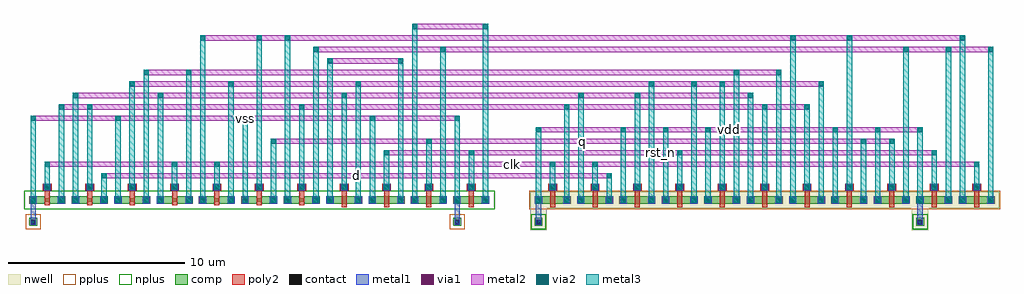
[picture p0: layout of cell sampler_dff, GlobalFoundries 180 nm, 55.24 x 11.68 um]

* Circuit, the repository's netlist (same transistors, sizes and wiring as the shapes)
* extracted by klt extract --deck gf180mcu

* cell sampler_dff
* pin clk
* pin d
* pin q
* pin rst_n
* pin vdd
* pin vss
.SUBCKT sampler_dff clk d q rst_n vdd vss
* device instance $1 r0 *1 0.8,1 nfet
X$1 \$3 clk vss vss nfet_03v3 L=0.28U W=0.22U AS=0.3872P AD=0.3872P PS=2.64U
+ PD=2.64U
* device instance $2 r0 *1 3.2,1 nfet
X$2 d \$3 \$4 vss nfet_03v3 L=0.28U W=0.22U AS=0.3872P AD=0.3872P PS=2.64U
+ PD=2.64U
* device instance $3 r0 *1 5.6,1 nfet
X$3 \$6 \$13 vss vss nfet_03v3 L=0.28U W=0.22U AS=0.3872P AD=0.3872P PS=2.64U
+ PD=2.64U
* device instance $4 r0 *1 8,1 nfet
X$4 \$6 clk \$4 vss nfet_03v3 L=0.28U W=0.22U AS=0.3872P AD=0.3872P PS=2.64U
+ PD=2.64U
* device instance $5 r0 *1 10.4,1 nfet
X$5 \$13 clk \$7 vss nfet_03v3 L=0.28U W=0.22U AS=0.3872P AD=0.3872P PS=2.64U
+ PD=2.64U
* device instance $6 r0 *1 12.8,1 nfet
X$6 q \$7 vss vss nfet_03v3 L=0.28U W=0.22U AS=0.3872P AD=0.3872P PS=2.64U
+ PD=2.64U
* device instance $7 r0 *1 15.2,1 nfet
X$7 \$9 \$3 \$7 vss nfet_03v3 L=0.28U W=0.22U AS=0.3872P AD=0.3872P PS=2.64U
+ PD=2.64U
* device instance $8 r0 *1 17.6,1 nfet
X$8 \$13 \$4 \$10 vss nfet_03v3 L=0.28U W=0.44U AS=0.3872P AD=0.3872P PS=2.64U
+ PD=2.64U
* device instance $9 r0 *1 20,1 nfet
X$9 \$10 rst_n vss vss nfet_03v3 L=0.28U W=0.44U AS=0.3872P AD=0.3872P PS=2.64U
+ PD=2.64U
* device instance $10 r0 *1 22.4,1 nfet
X$10 \$9 q \$11 vss nfet_03v3 L=0.28U W=0.44U AS=0.3872P AD=0.3872P PS=2.64U
+ PD=2.64U
* device instance $11 r0 *1 24.8,1 nfet
X$11 \$11 rst_n vss vss nfet_03v3 L=0.28U W=0.44U AS=0.3872P AD=0.3872P
+ PS=2.64U PD=2.64U
* device instance $12 r0 *1 29.4,1 pfet
X$12 \$3 clk vdd vdd pfet_03v3 L=0.28U W=0.44U AS=0.3872P AD=0.3872P PS=2.64U
+ PD=2.64U
* device instance $13 r0 *1 31.8,1 pfet
X$13 d clk \$4 vdd pfet_03v3 L=0.28U W=0.44U AS=0.3872P AD=0.3872P PS=2.64U
+ PD=2.64U
* device instance $14 r0 *1 34.2,1 pfet
X$14 \$13 \$4 vdd vdd pfet_03v3 L=0.28U W=0.44U AS=0.3872P AD=0.3872P PS=2.64U
+ PD=2.64U
* device instance $15 r0 *1 36.6,1 pfet
X$15 \$13 rst_n vdd vdd pfet_03v3 L=0.28U W=0.44U AS=0.3872P AD=0.3872P
+ PS=2.64U PD=2.64U
* device instance $16 r0 *1 39,1 pfet
X$16 \$6 \$13 vdd vdd pfet_03v3 L=0.28U W=0.44U AS=0.3872P AD=0.3872P PS=2.64U
+ PD=2.64U
* device instance $17 r0 *1 41.4,1 pfet
X$17 \$6 \$3 \$4 vdd pfet_03v3 L=0.28U W=0.44U AS=0.3872P AD=0.3872P PS=2.64U
+ PD=2.64U
* device instance $18 r0 *1 43.8,1 pfet
X$18 \$13 \$3 \$7 vdd pfet_03v3 L=0.28U W=0.44U AS=0.3872P AD=0.3872P PS=2.64U
+ PD=2.64U
* device instance $19 r0 *1 46.2,1 pfet
X$19 q \$7 vdd vdd pfet_03v3 L=0.28U W=0.44U AS=0.3872P AD=0.3872P PS=2.64U
+ PD=2.64U
* device instance $20 r0 *1 48.6,1 pfet
X$20 \$9 q vdd vdd pfet_03v3 L=0.28U W=0.44U AS=0.3872P AD=0.3872P PS=2.64U
+ PD=2.64U
* device instance $21 r0 *1 51,1 pfet
X$21 \$9 rst_n vdd vdd pfet_03v3 L=0.28U W=0.44U AS=0.3872P AD=0.3872P PS=2.64U
+ PD=2.64U
* device instance $22 r0 *1 53.4,1 pfet
X$22 \$9 clk \$7 vdd pfet_03v3 L=0.28U W=0.44U AS=0.3872P AD=0.3872P PS=2.64U
+ PD=2.64U
.ENDS sampler_dff

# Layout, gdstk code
import gdstk
lib = gdstk.Library(unit=1e-6, precision=1e-09)
def R(c, l, rs):  # rectangles x0, y0, x1, y1
    for r in rs: c.add(gdstk.rectangle(r[:2], r[2:], *l))
def A(c, l, x, y, w, h, nx, ny, dx, dy):  # array of equal rectangles
    R(c, l, [(x+i*dx, y+j*dy, x+i*dx+w, y+j*dy+h) for i in range(nx) for j in range(ny)])
nwell = (21, 0)
comp = (22, 0)
poly2 = (30, 0)
pplus = (31, 0)
nplus = (32, 0)
contact = (33, 0)
metal1 = (34, 0)
via1 = (35, 0)
metal2 = (36, 0)
via2 = (38, 0)
metal3 = (42, 0)

sampler_dff = lib.new_cell('sampler_dff')
R(sampler_dff, nwell, [(28.13,-0.71,29.07,0.63), (49.73,-0.71,50.67,0.63), (28.13,0.53,54.67,1.47)])
A(sampler_dff, comp, 16.58, 0.78, 2.04, 0.44, 4, 1, 2.4, 0)
A(sampler_dff, comp, 28.38, 0.78, 2.04, 0.44, 11, 1, 2.4, 0)
A(sampler_dff, comp, 0.66, 0.89, 0.28, 0.22, 7, 1, 2.4, 0)
R(sampler_dff, comp, [(-0.22,-0.46,0.22,-0.02), (23.78,-0.46,24.22,-0.02), (28.38,-0.46,28.82,-0.02), (49.98,-0.46,50.42,-0.02), (-0.22,0.78,0.66,1.22), (0.94,0.78,1.82,1.22), (2.18,0.78,3.06,1.22), (3.34,0.78,4.22,1.22), (4.58,0.78,5.46,1.22), (5.74,0.78,6.62,1.22), (6.98,0.78,7.86,1.22), (8.14,0.78,9.02,1.22), (9.38,0.78,10.26,1.22), (10.54,0.78,11.42,1.22), (11.78,0.78,12.66,1.22), (12.94,0.78,13.82,1.22), (14.18,0.78,15.06,1.22), (15.34,0.78,16.22,1.22)])
A(sampler_dff, poly2, 17.46, 0.58, 0.28, 0.99, 4, 1, 2.4, 0)
A(sampler_dff, poly2, 29.26, 0.58, 0.28, 0.99, 11, 1, 2.4, 0)
A(sampler_dff, poly2, 0.66, 0.69, 0.28, 0.88, 7, 1, 2.4, 0)
A(sampler_dff, poly2, 0.55, 1.52, 0.5, 0.4, 11, 1, 2.4, 0)
A(sampler_dff, poly2, 29.15, 1.52, 0.5, 0.4, 11, 1, 2.4, 0)
A(sampler_dff, pplus, 28.08, 0.48, 2.64, 1.04, 11, 1, 2.4, 0)
R(sampler_dff, pplus, [(-0.42,-0.66,0.42,0.18), (23.58,-0.66,24.42,0.18)])
A(sampler_dff, nplus, 16.28, 0.48, 2.64, 1.04, 4, 1, 2.4, 0)
A(sampler_dff, nplus, 0.36, 0.59, 0.88, 0.82, 7, 1, 2.4, 0)
R(sampler_dff, nplus, [(28.18,-0.66,29.02,0.18), (49.78,-0.66,50.62,0.18), (-0.52,0.48,0.96,1.52), (0.64,0.48,2.12,1.52), (1.88,0.48,3.36,1.52), (3.04,0.48,4.52,1.52), (4.28,0.48,5.76,1.52), (5.44,0.48,6.92,1.52), (6.68,0.48,8.16,1.52), (7.84,0.48,9.32,1.52), (9.08,0.48,10.56,1.52), (10.24,0.48,11.72,1.52), (11.48,0.48,12.96,1.52), (12.64,0.48,14.12,1.52), (13.88,0.48,15.36,1.52), (15.04,0.48,16.52,1.52)])
A(sampler_dff, contact, 0.69, 1.61, 0.22, 0.22, 11, 1, 2.4, 0)
A(sampler_dff, contact, 29.29, 1.61, 0.22, 0.22, 11, 1, 2.4, 0)
R(sampler_dff, contact, [(-0.11,-0.35,0.11,-0.13), (23.89,-0.35,24.11,-0.13), (28.49,-0.35,28.71,-0.13), (50.09,-0.35,50.31,-0.13), (-0.11,0.89,0.11,1.11), (1.49,0.89,1.71,1.11), (2.29,0.89,2.51,1.11), (3.89,0.89,4.11,1.11), (4.69,0.89,4.91,1.11), (6.29,0.89,6.51,1.11), (7.09,0.89,7.31,1.11), (8.69,0.89,8.91,1.11), (9.49,0.89,9.71,1.11), (11.09,0.89,11.31,1.11), (11.89,0.89,12.11,1.11), (13.49,0.89,13.71,1.11), (14.29,0.89,14.51,1.11), (15.89,0.89,16.11,1.11), (16.69,0.89,16.91,1.11), (18.29,0.89,18.51,1.11), (19.09,0.89,19.31,1.11), (20.69,0.89,20.91,1.11), (21.49,0.89,21.71,1.11), (23.09,0.89,23.31,1.11), (23.89,0.89,24.11,1.11), (25.49,0.89,25.71,1.11), (28.49,0.89,28.71,1.11), (30.09,0.89,30.31,1.11), (30.89,0.89,31.11,1.11), (32.49,0.89,32.71,1.11), (33.29,0.89,33.51,1.11), (34.89,0.89,35.11,1.11), (35.69,0.89,35.91,1.11), (37.29,0.89,37.51,1.11), (38.09,0.89,38.31,1.11), (39.69,0.89,39.91,1.11), (40.49,0.89,40.71,1.11), (42.09,0.89,42.31,1.11), (42.89,0.89,43.11,1.11), (44.49,0.89,44.71,1.11), (45.29,0.89,45.51,1.11), (46.89,0.89,47.11,1.11), (47.69,0.89,47.91,1.11), (49.29,0.89,49.51,1.11), (50.09,0.89,50.31,1.11), (51.69,0.89,51.91,1.11), (52.49,0.89,52.71,1.11), (54.09,0.89,54.31,1.11)])
A(sampler_dff, metal1, 0.6, 1.52, 0.4, 0.4, 11, 1, 2.4, 0)
A(sampler_dff, metal1, 29.2, 1.52, 0.4, 0.4, 11, 1, 2.4, 0)
R(sampler_dff, metal1, [(-0.15,-0.39,0.15,1), (23.85,-0.39,24.15,1), (28.45,-0.39,28.75,1), (50.05,-0.39,50.35,1), (-0.2,0.8,0.2,1.2), (1.4,0.8,1.8,1.2), (2.2,0.8,2.6,1.2), (3.8,0.8,4.2,1.2), (4.6,0.8,5,1.2), (6.2,0.8,6.6,1.2), (7,0.8,7.4,1.2), (8.6,0.8,9,1.2), (9.4,0.8,9.8,1.2), (11,0.8,11.4,1.2), (11.8,0.8,12.2,1.2), (13.4,0.8,13.8,1.2), (14.2,0.8,14.6,1.2), (15.8,0.8,16.2,1.2), (16.6,0.8,17,1.2), (18.2,0.8,18.6,1.2), (19,0.8,19.4,1.2), (20.6,0.8,21,1.2), (21.4,0.8,21.8,1.2), (23,0.8,23.4,1.2), (23.8,0.8,24.2,1.2), (25.4,0.8,25.8,1.2), (28.4,0.8,28.8,1.2), (30,0.8,30.4,1.2), (30.8,0.8,31.2,1.2), (32.4,0.8,32.8,1.2), (33.2,0.8,33.6,1.2), (34.8,0.8,35.2,1.2), (35.6,0.8,36,1.2), (37.2,0.8,37.6,1.2), (38,0.8,38.4,1.2), (39.6,0.8,40,1.2), (40.4,0.8,40.8,1.2), (42,0.8,42.4,1.2), (42.8,0.8,43.2,1.2), (44.4,0.8,44.8,1.2), (45.2,0.8,45.6,1.2), (46.8,0.8,47.2,1.2), (47.6,0.8,48,1.2), (49.2,0.8,49.6,1.2), (50,0.8,50.4,1.2), (51.6,0.8,52,1.2), (52.4,0.8,52.8,1.2), (54,0.8,54.4,1.2)])
A(sampler_dff, via1, 0.67, 1.59, 0.26, 0.26, 11, 1, 2.4, 0)
A(sampler_dff, via1, 29.27, 1.59, 0.26, 0.26, 11, 1, 2.4, 0)
R(sampler_dff, via1, [(-0.13,0.87,0.13,1.13), (1.47,0.87,1.73,1.13), (2.27,0.87,2.53,1.13), (3.87,0.87,4.13,1.13), (4.67,0.87,4.93,1.13), (6.27,0.87,6.53,1.13), (7.07,0.87,7.33,1.13), (8.67,0.87,8.93,1.13), (9.47,0.87,9.73,1.13), (11.07,0.87,11.33,1.13), (11.87,0.87,12.13,1.13), (13.47,0.87,13.73,1.13), (14.27,0.87,14.53,1.13), (15.87,0.87,16.13,1.13), (16.67,0.87,16.93,1.13), (18.27,0.87,18.53,1.13), (19.07,0.87,19.33,1.13), (20.67,0.87,20.93,1.13), (21.47,0.87,21.73,1.13), (23.07,0.87,23.33,1.13), (23.87,0.87,24.13,1.13), (25.47,0.87,25.73,1.13), (28.47,0.87,28.73,1.13), (30.07,0.87,30.33,1.13), (30.87,0.87,31.13,1.13), (32.47,0.87,32.73,1.13), (33.27,0.87,33.53,1.13), (34.87,0.87,35.13,1.13), (35.67,0.87,35.93,1.13), (37.27,0.87,37.53,1.13), (38.07,0.87,38.33,1.13), (39.67,0.87,39.93,1.13), (40.47,0.87,40.73,1.13), (42.07,0.87,42.33,1.13), (42.87,0.87,43.13,1.13), (44.47,0.87,44.73,1.13), (45.27,0.87,45.53,1.13), (46.87,0.87,47.13,1.13), (47.67,0.87,47.93,1.13), (49.27,0.87,49.53,1.13), (50.07,0.87,50.33,1.13), (51.67,0.87,51.93,1.13), (52.47,0.87,52.73,1.13), (54.07,0.87,54.33,1.13)])
A(sampler_dff, metal2, 0.64, 1.56, 0.32, 0.32, 11, 1, 2.4, 0)
A(sampler_dff, metal2, 29.24, 1.56, 0.32, 0.32, 11, 1, 2.4, 0)
R(sampler_dff, metal2, [(-0.16,0.84,0.16,1.16), (1.44,0.84,1.76,1.16), (2.24,0.84,2.56,1.16), (3.84,0.84,4.16,1.16), (4.64,0.84,4.96,1.16), (6.24,0.84,6.56,1.16), (7.04,0.84,7.36,1.16), (8.64,0.84,8.96,1.16), (9.44,0.84,9.76,1.16), (11.04,0.84,11.36,1.16), (11.84,0.84,12.16,1.16), (13.44,0.84,13.76,1.16), (14.24,0.84,14.56,1.16), (15.84,0.84,16.16,1.16), (16.64,0.84,16.96,1.16), (18.24,0.84,18.56,1.16), (19.04,0.84,19.36,1.16), (20.64,0.84,20.96,1.16), (21.44,0.84,21.76,1.16), (23.04,0.84,23.36,1.16), (23.84,0.84,24.16,1.16), (25.44,0.84,25.76,1.16), (28.44,0.84,28.76,1.16), (30.04,0.84,30.36,1.16), (30.84,0.84,31.16,1.16), (32.44,0.84,32.76,1.16), (33.24,0.84,33.56,1.16), (34.84,0.84,35.16,1.16), (35.64,0.84,35.96,1.16), (37.24,0.84,37.56,1.16), (38.04,0.84,38.36,1.16), (39.64,0.84,39.96,1.16), (40.44,0.84,40.76,1.16), (42.04,0.84,42.36,1.16), (42.84,0.84,43.16,1.16), (44.44,0.84,44.76,1.16), (45.24,0.84,45.56,1.16), (46.84,0.84,47.16,1.16), (47.64,0.84,47.96,1.16), (49.24,0.84,49.56,1.16), (50.04,0.84,50.36,1.16), (51.64,0.84,51.96,1.16), (52.44,0.84,52.76,1.16), (54.04,0.84,54.36,1.16), (3.85,2.22,32.75,2.52), (0.65,2.87,53.55,3.17), (19.85,3.52,51.15,3.82), (13.45,4.17,48.75,4.47), (28.45,4.82,50.35,5.12), (-0.15,5.47,24.15,5.77), (1.45,6.12,43.95,6.42), (2.25,6.77,40.75,7.07), (5.45,7.42,44.75,7.72), (6.25,8.07,42.35,8.37), (16.65,8.72,20.95,9.02), (15.85,9.37,54.35,9.67), (9.45,10.02,52.75,10.32), (21.45,10.67,25.75,10.97)])
A(sampler_dff, via2, 0.67, 1.59, 0.26, 0.26, 11, 1, 2.4, 0)
A(sampler_dff, via2, 29.27, 1.59, 0.26, 0.26, 11, 1, 2.4, 0)
A(sampler_dff, via2, 33.27, 4.84, 0.26, 0.26, 3, 1, 2.4, 0)
A(sampler_dff, via2, 45.27, 4.84, 0.26, 0.26, 3, 1, 2.4, 0)
A(sampler_dff, via2, 4.67, 5.49, 0.26, 0.26, 3, 1, 7.2, 0)
A(sampler_dff, via2, 49.27, 9.39, 0.26, 0.26, 3, 1, 2.4, 0)
R(sampler_dff, via2, [(-0.13,0.87,0.13,1.13), (1.47,0.87,1.73,1.13), (2.27,0.87,2.53,1.13), (3.87,0.87,4.13,1.13), (4.67,0.87,4.93,1.13), (6.27,0.87,6.53,1.13), (7.07,0.87,7.33,1.13), (8.67,0.87,8.93,1.13), (9.47,0.87,9.73,1.13), (11.07,0.87,11.33,1.13), (11.87,0.87,12.13,1.13), (13.47,0.87,13.73,1.13), (14.27,0.87,14.53,1.13), (15.87,0.87,16.13,1.13), (16.67,0.87,16.93,1.13), (18.27,0.87,18.53,1.13), (19.07,0.87,19.33,1.13), (20.67,0.87,20.93,1.13), (21.47,0.87,21.73,1.13), (23.07,0.87,23.33,1.13), (23.87,0.87,24.13,1.13), (25.47,0.87,25.73,1.13), (28.47,0.87,28.73,1.13), (30.07,0.87,30.33,1.13), (30.87,0.87,31.13,1.13), (32.47,0.87,32.73,1.13), (33.27,0.87,33.53,1.13), (34.87,0.87,35.13,1.13), (35.67,0.87,35.93,1.13), (37.27,0.87,37.53,1.13), (38.07,0.87,38.33,1.13), (39.67,0.87,39.93,1.13), (40.47,0.87,40.73,1.13), (42.07,0.87,42.33,1.13), (42.87,0.87,43.13,1.13), (44.47,0.87,44.73,1.13), (45.27,0.87,45.53,1.13), (46.87,0.87,47.13,1.13), (47.67,0.87,47.93,1.13), (49.27,0.87,49.53,1.13), (50.07,0.87,50.33,1.13), (51.67,0.87,51.93,1.13), (52.47,0.87,52.73,1.13), (54.07,0.87,54.33,1.13), (3.87,2.24,4.13,2.5), (32.47,2.24,32.73,2.5), (0.67,2.89,0.93,3.15), (7.87,2.89,8.13,3.15), (10.27,2.89,10.53,3.15), (29.27,2.89,29.53,3.15), (31.67,2.89,31.93,3.15), (53.27,2.89,53.53,3.15), (19.87,3.54,20.13,3.8), (24.67,3.54,24.93,3.8), (36.47,3.54,36.73,3.8), (50.87,3.54,51.13,3.8), (13.47,4.19,13.73,4.45), (22.27,4.19,22.53,4.45), (46.87,4.19,47.13,4.45), (48.47,4.19,48.73,4.45), (28.47,4.84,28.73,5.1), (-0.13,5.49,0.13,5.75), (23.87,5.49,24.13,5.75), (1.47,6.14,1.73,6.4), (3.07,6.14,3.33,6.4), (15.07,6.14,15.33,6.4), (30.07,6.14,30.33,6.4), (41.27,6.14,41.53,6.4), (43.67,6.14,43.93,6.4), (2.27,6.79,2.53,7.05), (7.07,6.79,7.33,7.05), (17.47,6.79,17.73,7.05), (30.87,6.79,31.13,7.05), (34.07,6.79,34.33,7.05), (40.47,6.79,40.73,7.05), (5.47,7.44,5.73,7.7), (11.07,7.44,11.33,7.7), (18.27,7.44,18.53,7.7), (34.87,7.44,35.13,7.7), (37.27,7.44,37.53,7.7), (38.87,7.44,39.13,7.7), (44.47,7.44,44.73,7.7), (6.27,8.09,6.53,8.35), (8.67,8.09,8.93,8.35), (39.67,8.09,39.93,8.35), (42.07,8.09,42.33,8.35), (16.67,8.74,16.93,9), (20.67,8.74,20.93,9), (15.87,9.39,16.13,9.65), (23.07,9.39,23.33,9.65), (9.47,10.04,9.73,10.3), (12.67,10.04,12.93,10.3), (14.27,10.04,14.53,10.3), (42.87,10.04,43.13,10.3), (46.07,10.04,46.33,10.3), (52.47,10.04,52.73,10.3), (21.47,10.69,21.73,10.95), (25.47,10.69,25.73,10.95)])
A(sampler_dff, metal3, 4.65, 0.85, 0.3, 4.92, 3, 1, 7.2, 0)
A(sampler_dff, metal3, 33.25, 0.85, 0.3, 4.27, 3, 1, 2.4, 0)
A(sampler_dff, metal3, 45.25, 0.85, 0.3, 4.27, 3, 1, 2.4, 0)
A(sampler_dff, metal3, 49.25, 0.85, 0.3, 8.82, 3, 1, 2.4, 0)
R(sampler_dff, metal3, [(-0.15,0.85,0.15,5.77), (1.45,0.85,1.75,6.42), (2.25,0.85,2.55,7.07), (3.85,0.85,4.15,2.52), (6.25,0.85,6.55,8.37), (7.05,0.85,7.35,7.07), (8.65,0.85,8.95,8.37), (9.45,0.85,9.75,10.32), (11.05,0.85,11.35,7.72), (13.45,0.85,13.75,4.47), (14.25,0.85,14.55,10.32), (15.85,0.85,16.15,9.67), (16.65,0.85,16.95,9.02), (18.25,0.85,18.55,7.72), (20.65,0.85,20.95,9.02), (21.45,0.85,21.75,10.97), (23.05,0.85,23.35,9.67), (23.85,0.85,24.15,5.77), (25.45,0.85,25.75,10.97), (28.45,0.85,28.75,5.12), (30.05,0.85,30.35,6.42), (30.85,0.85,31.15,7.07), (32.45,0.85,32.75,2.52), (34.85,0.85,35.15,7.72), (37.25,0.85,37.55,7.72), (39.65,0.85,39.95,8.37), (40.45,0.85,40.75,7.07), (42.05,0.85,42.35,8.37), (42.85,0.85,43.15,10.32), (44.45,0.85,44.75,7.72), (46.85,0.85,47.15,4.47), (52.45,0.85,52.75,10.32), (0.65,1.57,0.95,3.17), (3.05,1.57,3.35,6.42), (5.45,1.57,5.75,7.72), (7.85,1.57,8.15,3.17), (10.25,1.57,10.55,3.17), (12.65,1.57,12.95,10.32), (15.05,1.57,15.35,6.42), (17.45,1.57,17.75,7.07), (19.85,1.57,20.15,3.82), (22.25,1.57,22.55,4.47), (24.65,1.57,24.95,3.82), (29.25,1.57,29.55,3.17), (31.65,1.57,31.95,3.17), (34.05,1.57,34.35,7.07), (36.45,1.57,36.75,3.82), (38.85,1.57,39.15,7.72), (41.25,1.57,41.55,6.42), (43.65,1.57,43.95,6.42), (46.05,1.57,46.35,10.32), (48.45,1.57,48.75,4.47), (50.85,1.57,51.15,3.82), (53.25,1.57,53.55,3.17)])
sampler_dff.add(gdstk.Label('d', (18.3,2.37), layer=36, texttype=10))
sampler_dff.add(gdstk.Label('clk', (27.1,3.02), layer=36, texttype=10))
sampler_dff.add(gdstk.Label('rst_n', (35.5,3.67), layer=36, texttype=10))
sampler_dff.add(gdstk.Label('q', (31.1,4.32), layer=36, texttype=10))
sampler_dff.add(gdstk.Label('vdd', (39.4,4.97), layer=36, texttype=10))
sampler_dff.add(gdstk.Label('vss', (12,5.62), layer=36, texttype=10))

lib.write_gds('sampler_dff.gds')
